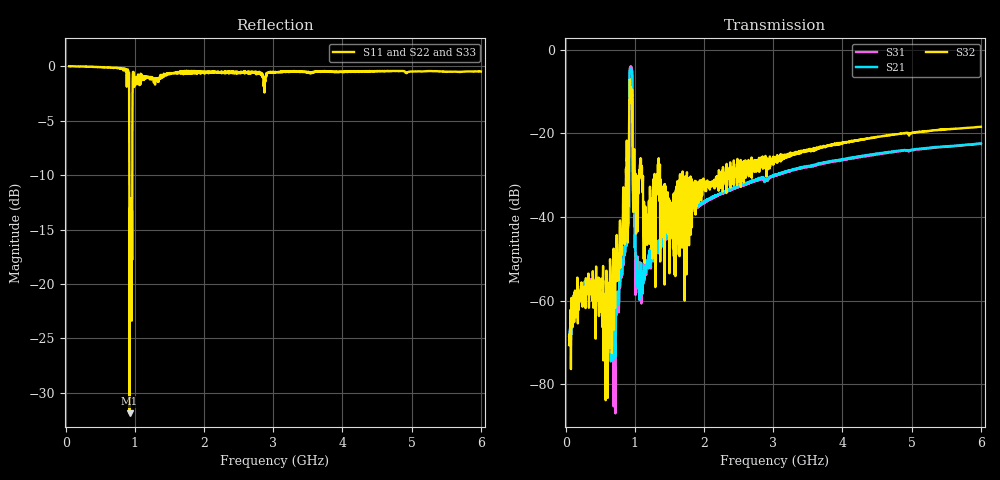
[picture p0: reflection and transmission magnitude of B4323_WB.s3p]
! Matrix data file written by TouchstoneData, EPCOS AG
! FILENAME: "AA53A_2_05_WB.snp"
! COMMENT: "(TS/AA53A_2_05_WB.s3p) Epcos AG 2/1/2013 3:4"
! INFO: nport=3, nfreq=1601
! DATE: "Wed Mar  6 17:06:09 2013"
! USER: "Wee Chuan Tay"
! port | pin | signal
!  1  |  1  |  Input
!  2  |  3  |  Output
!  3  |  4  |  Output
# MHZ S RI R 50
! freq  reS11 imS11  reS12 imS12  reS13 imS13  ...
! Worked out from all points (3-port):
!   1601 points, 50 MHz to 6 GHz, reference 50 ohm
!   strongest paths, dB at 50 MHz, 1.538 GHz, 3.025 GHz, 4.513 GHz, 6 GHz:
!     S32: -70.6, -37.0, -26.0, -20.8, -18.4
!     S21: -69.4, -42.9, -29.9, -24.8, -22.4
!     S31: -68.4, -43.2, -30.1, -25.0, -22.5
!   lowest |S11| = -31.9 dB at 923.9 MHz (marker M1), VSWR 1.05, Z = 52 - j1.63 ohm
!   |S11| at or under -10 dB: 919.8 MHz to 963.3 MHz (43.53 MHz wide, 4.62 % of centre)
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50  0.9926 -0.1124  7.29e-05 0.000332  1.52e-05 0.000378
    7.29e-05 0.000332  0.996 -0.0819  -2.78e-05 0.000292
    1.52e-05 0.000378  -2.78e-05 0.000292  0.9975 -0.0841
436.75  0.5969 -0.7896  0.0012 0.000992  0.00131 0.00106
        0.0012 0.000992  0.7562 -0.6406  0.000399 0.00139
        0.00131 0.00106  0.000399 0.00139  0.7614 -0.6338
693.3438  0.1516 -0.9678  -7.09e-05 -0.000186  -2.42e-05 -4.88e-05
          -7.09e-05 -0.000186  0.4289 -0.8804  -0.00231 0.00348
          -2.42e-05 -4.88e-05  -0.00231 0.00348  0.4331 -0.8795
886.7188  -0.4378 -0.8019  -0.00614 0.00243  -0.00573 0.00243
          -0.00614 0.00243  -0.1126 -0.9033  -0.00709 -0.046
          -0.00573 0.00243  -0.00709 -0.046  -0.1137 -0.8672
923.9062  0.0201 -0.0157  -0.5285 0.0937  0.5519 -0.0781
          -0.5285 0.0937  -0.4194 0.1939  -0.2003 0.2192
          0.5519 -0.0781  -0.2003 0.2192  -0.4083 0.1794
949.9375  -0.0975 -0.1537  -0.5679 0.0797  0.6132 -0.0547
          -0.5679 0.0797  -0.0926 -0.029  -0.2208 0.1103
          0.6132 -0.0547  -0.2208 0.1103  -0.0129 -0.0619
1009.438  0.2396 -0.8037  0.00312 0.00235  -0.000114 0.00117
          0.00312 0.00235  0.5068 -0.7137  -0.0116 -0.0306
          -0.000114 0.00117  -0.0116 -0.0306  0.5342 -0.7129
1072.656  0.0418 -0.8929  -0.000824 0.00108  -0.000134 0.00288
          -0.000824 0.00108  0.3146 -0.8076  -0.0172 0.0384
          -0.000134 0.00288  -0.0172 0.0384  0.3146 -0.8108
3025  -0.8531 -0.3956  -0.0136 0.0289  -0.0135 0.0283
      -0.0136 0.0289  -0.7416 -0.5437  -0.0228 0.0446
      -0.0135 0.0283  -0.0228 0.0446  -0.7242 -0.5617
6000  -0.9001 0.2872  0.0332 0.0684  0.0297 0.0689
      0.0332 0.0684  -0.8426 0.3576  0.0464 0.1107
      0.0297 0.0689  0.0464 0.1107  -0.8756 0.278
